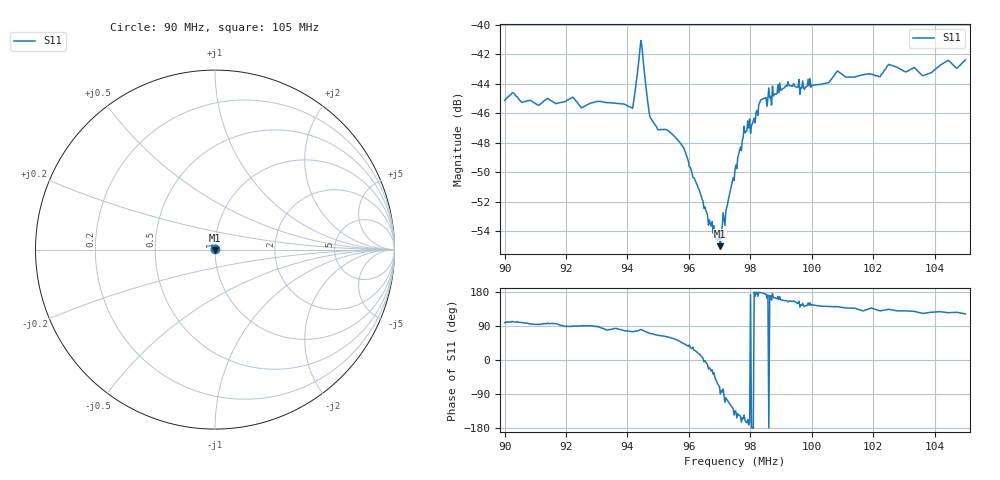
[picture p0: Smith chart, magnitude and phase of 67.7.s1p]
# HZ S RI R 50
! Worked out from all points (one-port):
!   505 points, 90 MHz to 105 MHz, reference 50 ohm
!   lowest |S11| = -55.0 dB at 97.02 MHz (marker M1), VSWR 1.00, Z = 50 - j0.178 ohm
!   |S11| at or under -10 dB: start of sweep to end of sweep
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9e7  -0.000843 0.00548
9.026786e7  -0.0011 0.00578
9.107143e7  -0.000342 0.00535
9.187501e7  -6.16e-05 0.00547
9.375001e7  0.00087 0.00533
9.416668e7  0.00138 0.00503
9.443454e7  0.00147 0.00873
9.449406e7  0.00159 0.00776
9.467263e7  0.00168 0.00508
9.476192e7  0.00167 0.00452
9.562502e7  0.0025 0.00323
9.586311e7  0.0028 0.0025
9.684526e7  0.00131 -0.00139
9.702383e7  1.47e-05 -0.00178
9.750002e7  -0.00223 -0.00232
9.785717e7  -0.00416 -0.00124
9.80655e7  -0.00462 -2.59e-05
9.833336e7  -0.00555 0.000208
9.937503e7  -0.00558 0.00267
1.004762e8  -0.00495 0.00397
1.008334e8  -0.0054 0.00442
1.0125e8  -0.00486 0.00454
1.022024e8  -0.00429 0.00511
1.025298e8  -0.00504 0.00532
1.03125e8  -0.00443 0.0054
1.036608e8  -0.00371 0.00564
1.044048e8  -0.00434 0.00617
1.05e8  -0.00399 0.00648
